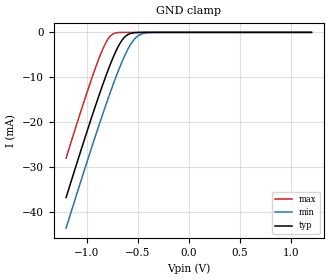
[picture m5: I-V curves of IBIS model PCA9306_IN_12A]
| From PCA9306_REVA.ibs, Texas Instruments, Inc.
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[Model]   PCA9306_IN_12A
Model_type  Input
Vinl=0.6
Vinh=1.2
| variable   typ   min   max
C_comp   5.55pF   4.55pF   7.53pF
[Temperature Range]   40   100   -40
| Ambient temperature   25   85   -40
[Voltage range]   1.2   1.2   1.2
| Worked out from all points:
|   GND clamp passes 1 mA (typ) near -0.62 V on its own axis
[GND Clamp]
| PCA9306_IN_12A
|   Voltage   I(typ)   I(min)   I(max)
-1.2V     -36.82mA   -43.65mA   -28.01mA
-945mV    -18.59mA   -25.32mA   -9.995mA
-865mV    -13.2mA    -19.8mA    -5.032mA
-805mV    -9.368mA   -15.79mA   -2.046mA
-745mV    -5.864mA   -11.94mA   -415.1uA
-695mV    -3.367mA   -8.913mA   -66.15uA
-650mV    -1.659mA   -6.397mA   -10.67uA
-575mV    -291.5uA   -2.917mA   -462.9nA
-505mV    -38.56uA   -933.2uA   -24.98nA
-445mV    -6.068uA   -254.4uA   -2.07nA
-345mV    -270.4nA   -21.14uA   -35.62pA
1.2V      25.7pA     2.801nA    17.46pA
